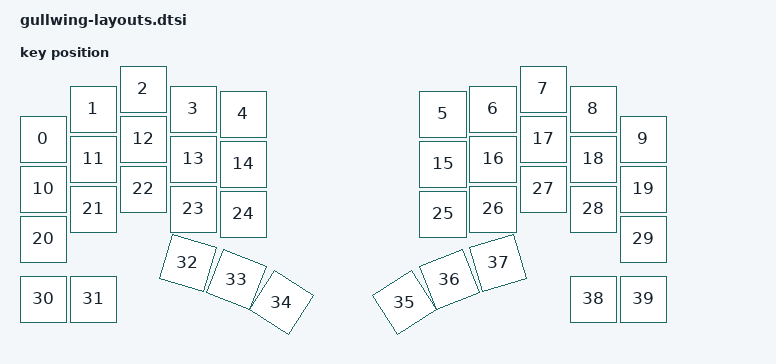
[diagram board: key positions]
#include <physical_layouts.dtsi>

/ {
    physical_layout0: physical_layout_0 {
        compatible = "zmk,physical-layout";
        display-name = "default";

        kscan = <&kscan0>;
        transform = <&default_transform>;

        keys  //                     w   h    x    y     rot    rx    ry
            = <&key_physical_attrs 100 100    0  100       0     0     0>
            , <&key_physical_attrs 100 100  100   40       0     0     0>
            , <&key_physical_attrs 100 100  200    0       0     0     0>
            , <&key_physical_attrs 100 100  300   40       0     0     0>
            , <&key_physical_attrs 100 100  400   50       0     0     0>
            , <&key_physical_attrs 100 100  800   50       0     0     0>
            , <&key_physical_attrs 100 100  900   40       0     0     0>
            , <&key_physical_attrs 100 100 1000    0       0     0     0>
            , <&key_physical_attrs 100 100 1100   40       0     0     0>
            , <&key_physical_attrs 100 100 1200  100       0     0     0>
            , <&key_physical_attrs 100 100    0  200       0     0     0>
            , <&key_physical_attrs 100 100  100  140       0     0     0>
            , <&key_physical_attrs 100 100  200  100       0     0     0>
            , <&key_physical_attrs 100 100  300  140       0     0     0>
            , <&key_physical_attrs 100 100  400  150       0     0     0>
            , <&key_physical_attrs 100 100  800  150       0     0     0>
            , <&key_physical_attrs 100 100  900  140       0     0     0>
            , <&key_physical_attrs 100 100 1000  100       0     0     0>
            , <&key_physical_attrs 100 100 1100  140       0     0     0>
            , <&key_physical_attrs 100 100 1200  200       0     0     0>
            , <&key_physical_attrs 100 100    0  300       0     0     0>
            , <&key_physical_attrs 100 100  100  240       0     0     0>
            , <&key_physical_attrs 100 100  200  200       0     0     0>
            , <&key_physical_attrs 100 100  300  240       0     0     0>
            , <&key_physical_attrs 100 100  400  250       0     0     0>
            , <&key_physical_attrs 100 100  800  250       0     0     0>
            , <&key_physical_attrs 100 100  900  240       0     0     0>
            , <&key_physical_attrs 100 100 1000  200       0     0     0>
            , <&key_physical_attrs 100 100 1100  240       0     0     0>
            , <&key_physical_attrs 100 100 1200  300       0     0     0>
            , <&key_physical_attrs 100 100    0  420       0     0     0>
            , <&key_physical_attrs 100 100  100  420       0     0     0>
            , <&key_physical_attrs 100 100  180  352    1600   298   790>
            , <&key_physical_attrs 100 100  242  355    2200   298   790>
            , <&key_physical_attrs 100 100  276  353    3200   298   790>
            , <&key_physical_attrs 100 100  924  353 (-3200)  1002   790>
            , <&key_physical_attrs 100 100  958  355 (-2200)  1002   790>
            , <&key_physical_attrs 100 100 1020  352 (-1600)  1002   790>
            , <&key_physical_attrs 100 100 1100  420       0     0     0>
            , <&key_physical_attrs 100 100 1200  420       0     0     0>
            ;
    };
};

